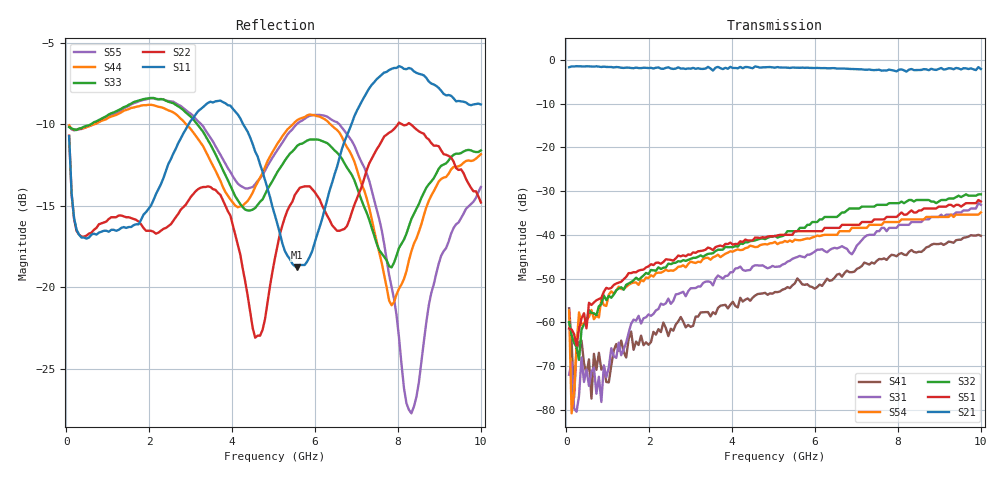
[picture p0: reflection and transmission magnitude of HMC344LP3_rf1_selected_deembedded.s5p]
!Hittite Microwave Corporation
!12 Elizabeth Drive
!Chelmsford, MA 01824
!Tel: 978-250-3343
!Fax: 978-250-3373
!Device: HMC344LP3, DC-8 GHz GaAs MMIC SP4T Non-Reflective Switch in Leadless LP3 SMT Package
!Misc: Room Temp Vctl=-5V Port1=RFC, Port2=RF1, Port3=RF2, Port4=RF3, Port5=RF4, RF1 ON.
# MHZ S MA R 50
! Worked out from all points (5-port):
!   167 points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, 69.82 MHz to 10 GHz, reference 50 ohm
!   strongest paths, dB at 69.82 MHz, 2.522 GHz, 5.035 GHz, 7.547 GHz, 10 GHz:
!     S21: -1.7, -2.0, -1.8, -2.2, -2.1
!     S51: -61.4, -45.7, -40.3, -36.5, -32.4
!     S32: -60.0, -46.7, -40.2, -33.2, -30.8
!     S54: -57.3, -48.2, -41.6, -37.7, -34.9
!     S31: -72.0, -55.8, -47.3, -39.2, -33.2
!     S41: -56.8, -61.5, -53.1, -45.5, -40.2
!   lowest |S11| = -18.8 dB at 5.573 GHz (marker M1), VSWR 1.26, Z = 43.7 + j8.78 ohm
!   |S11| at or under -10 dB: start of sweep to 2.949 GHz; 4.269 GHz to 6.878 GHz (2.609 GHz wide, 46.8 % of centre)
